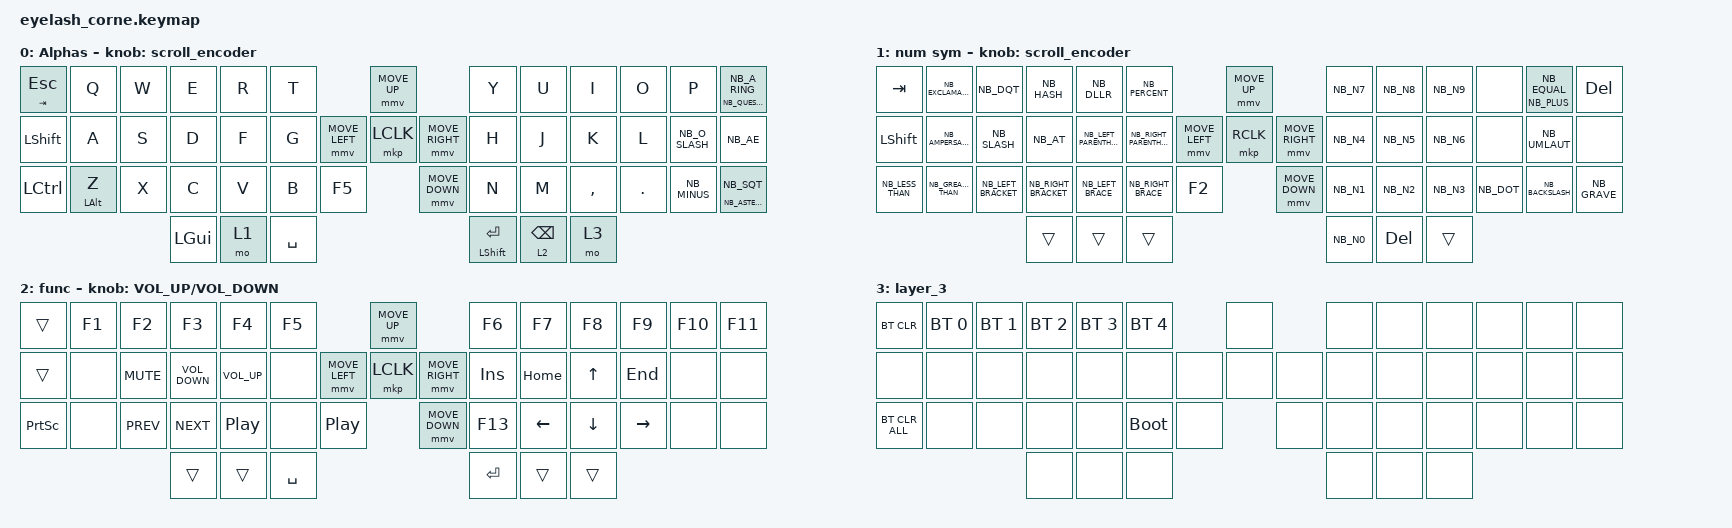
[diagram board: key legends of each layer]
#define ZMK_POINTING_DEFAULT_MOVE_VAL 1200  // 600
#define ZMK_POINTING_DEFAULT_SCRL_VAL 25   // 10

#include <input/processors.dtsi>
#include <zephyr/dt-bindings/input/input-event-codes.h>
#include "keys_nb.h"
#include <behaviors.dtsi>
#include <dt-bindings/zmk/bt.h>
#include <dt-bindings/zmk/keys.h>
#include <dt-bindings/zmk/pointing.h>
#include <dt-bindings/zmk/rgb.h>

&mmv_input_listener { input-processors = <&zip_xy_scaler 2 1>; };

&msc_input_listener { input-processors = <&zip_scroll_scaler 2 1>; };

&msc {
    acceleration-exponent = <1>;      // 0
    time-to-max-speed-ms = <100>;       // 300
    delay-ms = <0>;                   // 0
};

&mmv {
    time-to-max-speed-ms = <500>;
    acceleration-exponent = <1>;
    trigger-period-ms = <16>;
};

/ {
    behaviors {
        kp_kp: kp_kp {
            compatible = "zmk,behavior-hold-tap";
            label = "KP_KP";
            bindings = <&kp>, <&kp>;

            #binding-cells = <2>;
            tapping-term-ms = <150>;
            flavor = "balanced";
        };

        kp_mo: kp_mo {
            compatible = "zmk,behavior-hold-tap";
            label = "KP_MO";
            bindings = <&mo>, <&kp>;

            #binding-cells = <2>;
            tapping-term-ms = <150>;
            flavor = "balanced";
        };
    };

    rgb_encoder: rgb_encoder {
        compatible = "zmk,behavior-sensor-rotate";
        #sensor-binding-cells = <0>;
        bindings = <&rgb_ug RGB_BRI>, <&rgb_ug RGB_BRD>;
    };

    scroll_encoder: scroll_encoder {
        compatible = "zmk,behavior-sensor-rotate";
        #sensor-binding-cells = <0>;
        bindings = <&msc SCRL_DOWN>, <&msc SCRL_UP>;

        tap-ms = <100>;
    };

    combos {
        compatible = "zmk,combos";

        MO2 {
            bindings = <&mo 2>;
            key-positions = <43 42>;
        };
    };

    keymap {
        compatible = "zmk,keymap";

        Base_layer {
            display-name = "Alphas";
            bindings = <
&kp_kp TAB ESC  &kp Q              &kp W  &kp E     &kp R  &kp T                                &mmv MOVE_UP                     &kp Y                    &kp U               &kp I      &kp O    &kp P           &kp_kp NB_QUESTION NB_A_RING
&kp LEFT_SHIFT  &kp A              &kp S  &kp D     &kp F  &kp G                &mmv MOVE_LEFT  &mkp LCLK       &mmv MOVE_RIGHT  &kp H                    &kp J               &kp K      &kp L    &kp NB_O_SLASH  &kp NB_AE
&kp LCTRL       &kp_kp LEFT_ALT Z  &kp X  &kp C     &kp V  &kp B      &kp F5                    &mmv MOVE_DOWN                   &kp N                    &kp M               &kp COMMA  &kp DOT  &kp NB_MINUS    &kp_kp NB_ASTERISK NB_SQT
                                          &kp LGUI  &mo 1  &kp SPACE                                                             &kp_kp LEFT_SHIFT ENTER  &kp_mo 2 BACKSPACE  &mo 3
            >;

            sensor-bindings = <&scroll_encoder>;
        };

        symbols {
            display-name = "num sym";
            bindings = <
&kp TAB           &kp NB_EXCLAMATION   &kp NB_DQT           &kp NB_HASH           &kp NB_DLLR              &kp NB_PERCENT                                      &mmv MOVE_UP                     &kp NB_N7  &kp NB_N8  &kp NB_N9  &none       &kp_kp NB_PLUS NB_EQUAL  &kp DEL
&kp LEFT_SHIFT    &kp NB_AMPERSAND     &kp NB_SLASH         &kp NB_AT             &kp NB_LEFT_PARENTHESIS  &kp NB_RIGHT_PARENTHESIS            &mmv MOVE_LEFT  &mkp RCLK       &mmv MOVE_RIGHT  &kp NB_N4  &kp NB_N5  &kp NB_N6  &none       &kp NB_UMLAUT            &none
&kp NB_LESS_THAN  &kp NB_GREATER_THAN  &kp NB_LEFT_BRACKET  &kp NB_RIGHT_BRACKET  &kp NB_LEFT_BRACE        &kp NB_RIGHT_BRACE        &kp F2                    &mmv MOVE_DOWN                   &kp NB_N1  &kp NB_N2  &kp NB_N3  &kp NB_DOT  &kp NB_BACKSLASH         &kp NB_GRAVE
                                                            &trans                &trans                   &trans                                                                               &kp NB_N0  &kp DEL    &trans
            >;

            sensor-bindings = <&scroll_encoder>;
        };

        Functions {
            display-name = "func";
            bindings = <
&trans           &kp F1  &kp F2      &kp F3             &kp F4            &kp F5                                         &mmv MOVE_UP                     &kp F6   &kp F7          &kp F8    &kp F9     &kp F10  &kp F11
&trans           &none   &kp C_MUTE  &kp C_VOLUME_DOWN  &kp C_VOLUME_UP   &none                          &mmv MOVE_LEFT  &mkp LCLK       &mmv MOVE_RIGHT  &kp INS  &kp HOME        &kp UP    &kp END    &none    &none
&kp PRINTSCREEN  &none   &kp C_PREV  &kp C_NEXT         &kp C_PLAY_PAUSE  &none      &kp C_PLAY_PAUSE                    &mmv MOVE_DOWN                   &kp F13  &kp LEFT_ARROW  &kp DOWN  &kp RIGHT  &none    &none
                                     &trans             &trans            &kp SPACE                                                                       &kp RET  &trans          &trans
            >;

            sensor-bindings = <&inc_dec_kp C_VOLUME_UP C_VOLUME_DOWN>;
        };

        layer_3 {
            bindings = <
&bt BT_CLR      &bt BT_SEL 0  &bt BT_SEL 1  &bt BT_SEL 2  &bt BT_SEL 3  &bt BT_SEL 4                  &none         &none  &none  &none  &none  &none  &none
&none           &none         &none         &none         &none         &none                  &none  &none  &none  &none  &none  &none  &none  &none  &none
&bt BT_CLR_ALL  &none         &none         &none         &none         &bootloader   &none           &none         &none  &none  &none  &none  &none  &none
                                            &none         &none         &none                                       &none  &none  &none
            >;
        };
    };
};
